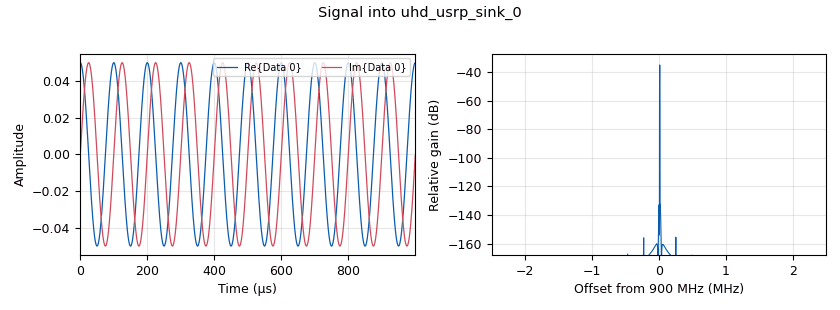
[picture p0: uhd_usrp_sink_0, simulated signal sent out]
options:
  parameters:
    generate_options: qt_gui
    id: test0_usrp
    output_language: python
    title: USRP loopback
  states: {}

blocks:
- name: collection_time_sec
  id: variable
  parameters:
    value: '10'
  states: {}
- name: fb
  id: variable
  parameters:
    value: 10e3
  states: {}
- name: fc
  id: variable
  parameters:
    value: 900e6
  states: {}
- name: fs_stage1
  id: variable
  parameters:
    value: samp_rate/20
  states: {}
- name: fs_stage2
  id: variable
  parameters:
    value: fs_stage1/10
  states: {}
- name: samp_rate
  id: variable
  parameters:
    value: 5e6
  states: {}
- name: analog_sig_source_x_0
  id: analog_sig_source_x
  parameters:
    amp: '0.05'
    freq: fb
    offset: '0'
    phase: '0'
    samp_rate: samp_rate
    type: complex
    waveform: analog.GR_SIN_WAVE
  states: {}
- name: analog_sig_source_x_0_0
  id: analog_sig_source_x
  parameters:
    amp: '0.05'
    freq: fb
    offset: '0'
    phase: '0'
    samp_rate: samp_rate
    type: complex
    waveform: analog.GR_SIN_WAVE
  states: {state: disabled}
- name: blocks_complex_to_arg_0
  id: blocks_complex_to_arg
  parameters: {}
  states: {state: disabled}
- name: blocks_file_meta_sink_0
  id: blocks_file_meta_sink
  parameters:
    detached: 'False'
    extra_dict: pmt.make_dict()
    file: gnu_rx_iq_cf32
    max_seg_size: '1000000'
    rel_rate: '1'
    samp_rate: samp_rate
    type: complex
  states: {state: disabled}
- name: blocks_file_sink_0
  id: blocks_file_sink
  parameters:
    file: /home/risc/ram/server_mount/Feb23/static/gnuradio/gnu_5msps_TxRxFb_900_900_10_10s.bin
    type: complex
  states: {}
- name: blocks_head_0
  id: blocks_head
  parameters:
    num_items: int(samp_rate * collection_time_sec)
    type: complex
  states: {}
- name: blocks_multiply_conjugate_cc_1
  id: blocks_multiply_conjugate_cc
  parameters: {}
  states: {state: disabled}
- name: high_pass_filter_0
  id: high_pass_filter
  parameters:
    cutoff_freq: '200'
    decim: '1'
    gain: '1'
    samp_rate: fs_stage2
    type: fir_filter_fff
    width: '200'
    win: window.WIN_HAMMING
  states: {state: disabled}
- name: low_pass_filter_0
  id: low_pass_filter
  parameters:
    cutoff_freq: '50000'
    decim: '20'
    gain: '1'
    samp_rate: samp_rate
    type: fir_filter_fff
    width: '25000'
    win: window.WIN_HAMMING
  states: {state: disabled}
- name: low_pass_filter_0_0
  id: low_pass_filter
  parameters:
    cutoff_freq: '5000'
    decim: '10'
    gain: '1'
    samp_rate: fs_stage1
    type: fir_filter_fff
    width: '2500'
    win: window.WIN_HAMMING
  states: {state: disabled}
- name: low_pass_filter_0_1
  id: low_pass_filter
  parameters:
    cutoff_freq: '50000'
    decim: '20'
    gain: '1'
    samp_rate: samp_rate
    type: fir_filter_fff
    width: '25000'
    win: window.WIN_HAMMING
  states: {state: disabled}
- name: qtgui_const_sink_x_0
  id: qtgui_const_sink_x
  parameters:
    autoscale: 'True'
    grid: 'True'
    name: IQ constellation
    size: '1024'
    type: complex
  states: {state: disabled}
- name: qtgui_const_sink_x_0_0
  id: qtgui_const_sink_x
  parameters:
    autoscale: 'True'
    grid: 'True'
    name: IQ constellation
    size: '1024'
    type: complex
  states: {}
- name: qtgui_freq_sink_x_0
  id: qtgui_freq_sink_x
  parameters:
    autoscale: 'True'
    average: '0.2'
    bw: '4000'
    fc: '0'
    fftsize: '2048'
    grid: 'True'
    norm_window: 'True'
    type: float
    update_time: '0.01'
  states: {state: disabled}
- name: qtgui_time_sink_x_0
  id: qtgui_time_sink_x
  parameters:
    autoscale: 'True'
    grid: 'True'
    name: Phase (arg(I + jQ))
    size: '1024'
    srate: samp_rate
    type: float
    ylabel: Phase
    yunit: rad
  states: {state: disabled}
- name: qtgui_time_sink_x_0_0
  id: qtgui_time_sink_x
  parameters:
    autoscale: 'True'
    grid: 'True'
    name: Phase (arg(I + jQ))
    size: '1024'
    srate: fs_stage2
    type: float
    ylabel: Phase
    yunit: rad
  states: {state: disabled}
- name: qtgui_waterfall_sink_x_0
  id: qtgui_waterfall_sink_x
  parameters:
    bw: samp_rate
    fc: '0'
    fftsize: '1024'
    type: complex
  states: {state: disabled}
- name: uhd_usrp_sink_0
  id: uhd_usrp_sink
  parameters:
    ant0: '"TX/RX"'
    center_freq0: fc
    dev_addr: addr=192.168.10.2
    gain0: '5'
    samp_rate: samp_rate
    sync: pc_clock
    type: fc32
  states: {}
- name: uhd_usrp_source_0
  id: uhd_usrp_source
  parameters:
    ant0: '"RX2"'
    center_freq0: fc
    dev_addr: addr=192.168.10.2
    gain0: '8'
    samp_rate: samp_rate
    sync: pc_clock
    type: fc32
  states: {}

connections:
- [analog_sig_source_x_0, '0', uhd_usrp_sink_0, '0']
- [analog_sig_source_x_0_0, '0', blocks_multiply_conjugate_cc_1, '1']
- [blocks_complex_to_arg_0, '0', low_pass_filter_0, '0']
- [blocks_complex_to_arg_0, '0', qtgui_time_sink_x_0, '0']
- [blocks_head_0, '0', blocks_file_sink_0, '0']
- [blocks_multiply_conjugate_cc_1, '0', blocks_complex_to_arg_0, '0']
- [blocks_multiply_conjugate_cc_1, '0', qtgui_const_sink_x_0, '0']
- [high_pass_filter_0, '0', qtgui_freq_sink_x_0, '0']
- [high_pass_filter_0, '0', qtgui_time_sink_x_0_0, '0']
- [low_pass_filter_0, '0', low_pass_filter_0_0, '0']
- [low_pass_filter_0_0, '0', high_pass_filter_0, '0']
- [uhd_usrp_source_0, '0', blocks_head_0, '0']
- [uhd_usrp_source_0, '0', qtgui_const_sink_x_0_0, '0']

metadata:
  file_format: 1
  grc_version: 3.9.8.0
